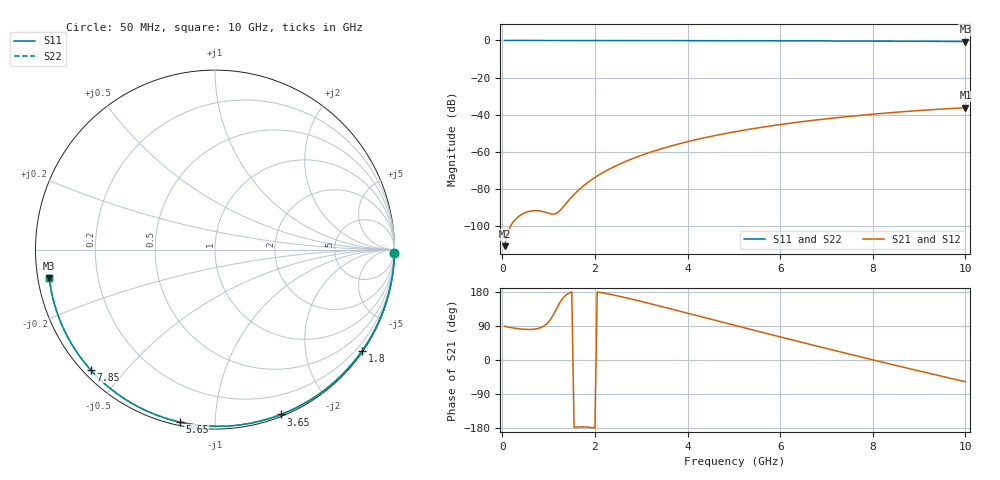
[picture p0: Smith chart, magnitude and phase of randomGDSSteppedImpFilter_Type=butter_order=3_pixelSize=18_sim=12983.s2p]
! freq	dB(S11)	phase(S11)	dB(S12)	phase(S12)
!  dB(S21)	phase(S21)	dB(S22)	phase(S22)
!S-par simulation data
#  GHz  S  DB  R 50
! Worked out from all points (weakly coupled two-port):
!   200 points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, 50 MHz to 10 GHz, reference 50 ohm
!   highest |S21| = -36.29 dB at 10 GHz (marker M1); lowest = -111.0 dB at 50 MHz (marker M2)
!   lowest |S11| = -0.6 dB at 10 GHz (marker M3), VSWR 30.76, Z = 1.64 - j4.32 ohm
!   |S11| at or under -10 dB: nowhere
!   |S22| runs from -0.6 to 0.0 dB; largest |S21 - S12| = 0
!   S11 on the Smith chart (normalised r, x): 50 MHz: open; 1.8 GHz: 0.03, -3.21; 3.65 GHz: 0.02, -1.48; 5.65 GHz: 0.02, -0.82; 7.85 GHz: 0.02, -0.40; 10 GHz: 0.03, -0.09
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0.05  -0.00 -1.0  -111.00 88.7  -111.00 88.7  -0.00 -1.0
0.45  -0.01 -8.8  -93.43 81.3  -93.43 81.3  -0.01 -8.8
0.85  -0.02 -16.6  -92.17 86.4  -92.17 86.4  -0.02 -16.6
1.65  -0.04 -31.8  -80.67 -176.8  -80.67 -176.8  -0.04 -31.8
1.7  -0.04 -32.8  -79.56 -176.5  -79.56 -176.5  -0.04 -32.8
1.75  -0.04 -33.7  -78.51 -176.6  -78.51 -176.6  -0.04 -33.7
1.8  -0.04 -34.6  -77.51 -176.8  -77.51 -176.8  -0.04 -34.6
2.1  -0.05 -40.2  -72.37 178.7  -72.37 178.7  -0.05 -40.3
2.5  -0.06 -47.6  -67.10 168.9  -67.10 168.9  -0.06 -47.6
2.9  -0.07 -54.9  -62.93 157.5  -62.93 157.5  -0.07 -54.9
3.4  -0.08 -63.8  -58.70 142.3  -58.70 142.3  -0.08 -63.8
3.65  -0.09 -68.2  -56.89 134.6  -56.89 134.6  -0.09 -68.2
4.35  -0.11 -80.2  -52.59 112.6  -52.59 112.6  -0.11 -80.2
5.05  -0.14 -91.9  -49.13 90.5  -49.13 90.5  -0.14 -91.9
5.65  -0.17 -101.6  -46.66 71.8  -46.66 71.8  -0.17 -101.7
6.15  -0.20 -109.6  -44.87 56.3  -44.87 56.3  -0.20 -109.6
6.7  -0.23 -118.2  -43.13 39.4  -43.13 39.4  -0.23 -118.3
7.25  -0.27 -126.8  -41.60 22.8  -41.60 22.8  -0.27 -126.8
7.85  -0.32 -136.0  -40.13 4.9  -40.13 4.9  -0.32 -136.1
8.35  -0.37 -143.8  -39.04 -9.9  -39.04 -9.9  -0.37 -143.9
9.2  -0.46 -157.1  -37.47 -34.6  -37.47 -34.6  -0.46 -157.2
10  -0.56 -170.1  -36.29 -57.4  -36.29 -57.4  -0.57 -170.2
